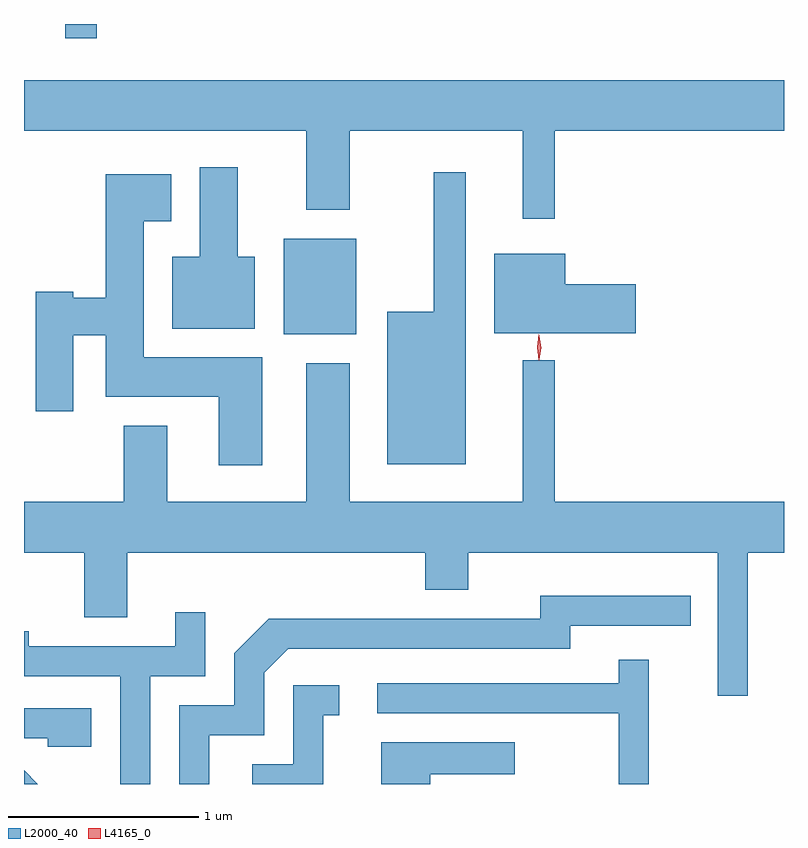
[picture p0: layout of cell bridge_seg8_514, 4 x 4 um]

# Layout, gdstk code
import gdstk
lib = gdstk.Library(unit=1e-6, precision=1e-09)
def R(c, l, rs):  # rectangles x0, y0, x1, y1
    for r in rs: c.add(gdstk.rectangle(r[:2], r[2:], *l))
def P(c, l, *ps):  # polygons
    for p in ps: c.add(gdstk.Polygon(p, *l))
L2000_40 = (2000, 40)
L4165_0 = (4165, 0)

bridge_seg8_514 = lib.new_cell('bridge_seg8_514')
R(bridge_seg8_514, L2000_40, [(270.251,1844.226,270.634,1844.729), (269.101,1845.783,269.269,1845.859)])
P(bridge_seg8_514, L2000_40, [(271.679,1845.296),(272.885,1845.296),(272.885,1845.564),(268.885,1845.564),(268.885,1845.296),(270.371,1845.296),(270.371,1844.881),(270.599,1844.881),(270.599,1845.296),(271.511,1845.296),(271.511,1844.833),(271.679,1844.833)],
  [(270.099,1844.634),(270.009,1844.634),(270.009,1845.104),(269.811,1845.104),(269.811,1844.634),(269.666,1844.634),(269.666,1844.256),(270.099,1844.256)],
  [(271.209,1845.078),(271.041,1845.078),(271.041,1844.344),(270.796,1844.344),(270.796,1843.541),(271.209,1843.541)],
  [(270.139,1844.104),(269.514,1844.104),(269.514,1844.821),(269.659,1844.821),(269.659,1845.069),(269.316,1845.069),(269.316,1844.419),(269.144,1844.419),(269.144,1844.449),(268.946,1844.449),(268.946,1843.821),(269.144,1843.821),(269.144,1844.221),(269.316,1844.221),(269.316,1843.896),(269.911,1843.896),(269.911,1843.536),(270.139,1843.536)],
  [(272.104,1844.489),(271.734,1844.489),(271.734,1844.649),(271.361,1844.649),(271.361,1844.231),(272.104,1844.231)],
  [(272.694,1843.076),(272.885,1843.076),(272.885,1843.344),(271.679,1843.344),(271.679,1844.088),(271.511,1844.088),(271.511,1843.344),(270.599,1843.344),(270.599,1844.074),(270.371,1844.074),(270.371,1843.344),(269.639,1843.344),(269.639,1843.744),(269.411,1843.744),(269.411,1843.344),(268.885,1843.344),(268.885,1843.076),(269.201,1843.076),(269.201,1842.736),(269.429,1842.736),(269.429,1843.076),(270.996,1843.076),(270.996,1842.881),(271.224,1842.881),(271.224,1843.076),(272.536,1843.076),(272.536,1842.323),(272.694,1842.323)],
  [(269.859,1842.116),(270.149,1842.116),(270.149,1842.444),(270.277,1842.571),(271.759,1842.571),(271.759,1842.691),(272.393,1842.691),(272.393,1842.849),(271.601,1842.849),(271.601,1842.729),(270.174,1842.729),(269.991,1842.547),(269.991,1842.274),(269.701,1842.274),(269.701,1841.859),(269.859,1841.859)],
  [(269.549,1842.426),(269.839,1842.426),(269.839,1842.763),(269.681,1842.763),(269.681,1842.584),(268.909,1842.584),(268.909,1842.663),(268.885,1842.663),(268.885,1842.426),(269.391,1842.426),(269.391,1841.859),(269.549,1841.859)],
  [(272.174,1842.513),(272.016,1842.513),(272.016,1842.389),(270.743,1842.389),(270.743,1842.231),(272.016,1842.231),(272.016,1841.859),(272.174,1841.859)],
  [(270.459,1842.221),(270.543,1842.221),(270.543,1842.379),(270.301,1842.379),(270.301,1841.964),(270.086,1841.964),(270.086,1841.859),(270.459,1841.859)],
  [(269.239,1842.259),(268.885,1842.259),(268.885,1842.101),(269.011,1842.101),(269.011,1842.056),(269.239,1842.056)],
  [(271.024,1841.911),(271.468,1841.911),(271.468,1842.079),(270.766,1842.079),(270.766,1841.859),(271.024,1841.859)],
  [(268.885,1841.931),(268.885,1841.859),(268.957,1841.859)])
P(bridge_seg8_514, L4165_0, [(271.594,1844.09),(271.585,1844.158),(271.594,1844.225),(271.594,1844.226),(271.595,1844.225),(271.604,1844.158),(271.596,1844.09),(271.595,1844.09)],
  [(271.596,1844.093),(271.587,1844.156),(271.596,1844.219),(271.597,1844.22),(271.598,1844.219),(271.607,1844.156),(271.598,1844.093),(271.597,1844.093)])

lib.write_gds('bridge_seg8_514.gds')
